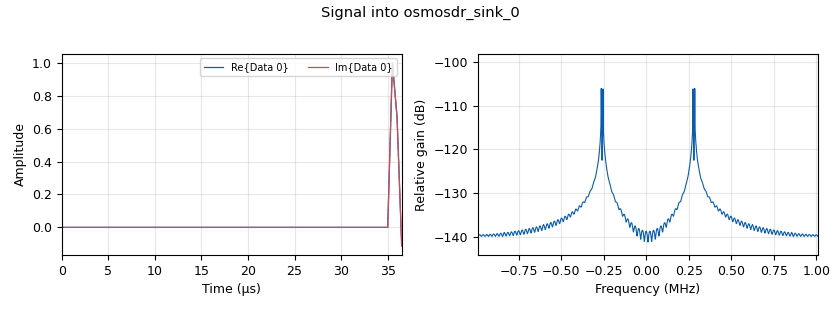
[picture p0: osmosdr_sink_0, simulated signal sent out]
<?xml version='1.0' encoding='utf-8'?>
<?grc format='1' created='3.7.11'?>
<flow_graph>
<block>
<key>options</key>
<param><key>id</key><value>OOK_hackrf</value></param>
<param><key>generate_options</key><value>qt_gui</value></param>
</block>
<block>
<key>variable</key>
<param><key>id</key><value>EBW</value></param>
<param><key>value</key><value>.35</value></param>
</block>
<block>
<key>variable_rrc_filter_taps</key>
<param><key>id</key><value>RRC_filter_taps</value></param>
<param><key>comment</key><value>Root raised cosine definition.</value></param>
<param><key>alpha</key><value>EBW</value></param>
<param><key>gain</key><value>nfilts</value></param>
<param><key>ntaps</key><value>5*sps_TX*nfilts</value></param>
<param><key>samp_rate</key><value>nfilts</value></param>
<param><key>sym_rate</key><value>1.0</value></param>
</block>
<block>
<key>variable</key>
<param><key>id</key><value>carrier_freq</value></param>
<param><key>value</key><value>270e3</value></param>
</block>
<block>
<key>variable</key>
<param><key>id</key><value>center_freq</value></param>
<param><key>comment</key><value>RF carrier frequency</value></param>
<param><key>value</key><value>10e3</value></param>
</block>
<block>
<key>variable_qtgui_range</key>
<param><key>id</key><value>freq_offset_value</value></param>
<param><key>value</key><value>0</value></param>
<param><key>orient</key><value>Qt.Horizontal</value></param>
<param><key>start</key><value>-10e3</value></param>
<param><key>step</key><value>250</value></param>
<param><key>stop</key><value>10e3</value></param>
</block>
<block>
<key>variable</key>
<param><key>id</key><value>fsk_deviation_hz</value></param>
<param><key>comment</key><value>Frequency deviation of 
GFSK modulation</value></param>
<param><key>value</key><value>0.5e4</value></param>
</block>
<block>
<key>variable</key>
<param><key>id</key><value>nfilts</value></param>
<param><key>value</key><value>32</value></param>
</block>
<block>
<key>variable</key>
<param><key>id</key><value>noise_amp</value></param>
<param><key>value</key><value>0.0</value></param>
</block>
<block>
<key>variable</key>
<param><key>id</key><value>samp_rate</value></param>
<param><key>comment</key><value>Sample rate - 
determines BW
of transmitter and receiver.
This should be larger
than BW of signal itself.</value></param>
<param><key>value</key><value>2e6</value></param>
</block>
<block>
<key>variable</key>
<param><key>id</key><value>sps_RX</value></param>
<param><key>comment</key><value>Samples per 
signal at
receiver</value></param>
<param><key>value</key><value>16</value></param>
</block>
<block>
<key>variable</key>
<param><key>id</key><value>sps_TX</value></param>
<param><key>comment</key><value>Samples 
per signal
at transmitter</value></param>
<param><key>value</key><value>int(samp_rate/fsk_deviation_hz*5)</value></param>
</block>
<block>
<key>analog_const_source_x</key>
<param><key>id</key><value>analog_const_source_x_0</value></param>
<param><key>const</key><value>0</value></param>
<param><key>type</key><value>float</value></param>
</block>
<block>
<key>analog_feedforward_agc_cc</key>
<param><key>id</key><value>analog_feedforward_agc_cc_0</value></param>
<param><key>comment</key><value>Optional AGC</value></param>
<param><key>num_samples</key><value>1024/2</value></param>
<param><key>reference</key><value>1.0</value></param>
</block>
<block>
<key>analog_sig_source_x</key>
<param><key>id</key><value>analog_sig_source_x_0</value></param>
<param><key>amp</key><value>1</value></param>
<param><key>freq</key><value>fsk_deviation_hz</value></param>
<param><key>offset</key><value>0</value></param>
<param><key>type</key><value>float</value></param>
<param><key>samp_rate</key><value>samp_rate</value></param>
<param><key>waveform</key><value>analog.GR_COS_WAVE</value></param>
</block>
<block>
<key>analog_sig_source_x</key>
<param><key>id</key><value>analog_sig_source_x_0_0</value></param>
<param><key>amp</key><value>1</value></param>
<param><key>freq</key><value>carrier_freq</value></param>
<param><key>offset</key><value>0</value></param>
<param><key>type</key><value>float</value></param>
<param><key>samp_rate</key><value>samp_rate</value></param>
<param><key>waveform</key><value>analog.GR_COS_WAVE</value></param>
</block>
<block>
<key>analog_sig_source_x</key>
<param><key>id</key><value>analog_sig_source_x_1</value></param>
<param><key>amp</key><value>1</value></param>
<param><key>comment</key><value>local oscillator</value></param>
<param><key>freq</key><value>-carrier_freq+freq_offset_value</value></param>
<param><key>offset</key><value>0</value></param>
<param><key>type</key><value>complex</value></param>
<param><key>samp_rate</key><value>samp_rate</value></param>
<param><key>waveform</key><value>analog.GR_COS_WAVE</value></param>
</block>
<block>
<key>blocks_char_to_float</key>
<param><key>id</key><value>blocks_char_to_float_0</value></param>
<param><key>scale</key><value>1</value></param>
</block>
<block>
<key>blocks_complex_to_mag_squared</key>
<param><key>id</key><value>blocks_complex_to_mag_squared_0</value></param>
</block>
<block>
<key>blocks_float_to_char</key>
<param><key>id</key><value>blocks_float_to_char_0</value></param>
<param><key>scale</key><value>1</value></param>
</block>
<block>
<key>blocks_float_to_complex</key>
<param><key>id</key><value>blocks_float_to_complex_0</value></param>
</block>
<block>
<key>blocks_message_debug</key>
<param><key>id</key><value>blocks_message_debug_0</value></param>
<param><key>comment</key><value>Display recovered
message</value></param>
</block>
<block>
<key>blocks_message_strobe</key>
<param><key>id</key><value>blocks_message_strobe_0_0</value></param>
<param><key>comment</key><value>Generate hello world message</value></param>
<param><key>msg</key><value>pmt.cons(pmt.make_dict(), pmt.pmt_to_python.numpy_to_uvector(numpy.array([ord(c) for c in "Hello world!"], numpy.uint8)))</value></param>
<param><key>period</key><value>1</value></param>
</block>
<block>
<key>blocks_moving_average_xx</key>
<param><key>id</key><value>blocks_moving_average_xx_0</value></param>
<param><key>length</key><value>sps_RX</value></param>
<param><key>max_iter</key><value>4000</value></param>
<param><key>scale</key><value>4.0/sps_RX</value></param>
<param><key>type</key><value>float</value></param>
</block>
<block>
<key>blocks_multiply_xx</key>
<param><key>id</key><value>blocks_multiply_xx_0</value></param>
<param><key>type</key><value>float</value></param>
</block>
<block>
<key>blocks_multiply_xx</key>
<param><key>id</key><value>blocks_multiply_xx_0_0</value></param>
<param><key>type</key><value>float</value></param>
</block>
<block>
<key>blocks_multiply_xx</key>
<param><key>id</key><value>blocks_multiply_xx_1</value></param>
<param><key>comment</key><value>Perform frequency translation
(down convert)</value></param>
<param><key>type</key><value>complex</value></param>
</block>
<block>
<key>blocks_pdu_to_tagged_stream</key>
<param><key>id</key><value>blocks_pdu_to_tagged_stream_1</value></param>
<param><key>type</key><value>byte</value></param>
<param><key>tag</key><value>len_key</value></param>
</block>
<block>
<key>blocks_repack_bits_bb</key>
<param><key>id</key><value>blocks_repack_bits_bb_0_0</value></param>
<param><key>k</key><value>8</value></param>
<param><key>l</key><value>1</value></param>
<param><key>comment</key><value>Unpack bytes</value></param>
<param><key>endianness</key><value>gr.GR_MSB_FIRST</value></param>
<param><key>len_tag_key</key><value>len_key</value></param>
</block>
<block>
<key>blocks_repack_bits_bb</key>
<param><key>id</key><value>blocks_repack_bits_bb_0_0_0</value></param>
<param><key>k</key><value>1</value></param>
<param><key>l</key><value>8</value></param>
<param><key>comment</key><value>Tagged Stream to PDU block up ahead needs
packed bytes</value></param>
<param><key>endianness</key><value>gr.GR_MSB_FIRST</value></param>
<param><key>len_tag_key</key><value>len_key2</value></param>
</block>
<block>
<key>blocks_repeat</key>
<param><key>id</key><value>blocks_repeat_0</value></param>
<param><key>interp</key><value>sps_TX</value></param>
<param><key>type</key><value>float</value></param>
</block>
<block>
<key>blocks_tagged_stream_mux</key>
<param><key>id</key><value>blocks_tagged_stream_mux_0</value></param>
<param><key>comment</key><value>Append header to payload</value></param>
<param><key>type</key><value>byte</value></param>
<param><key>lengthtagname</key><value>len_key</value></param>
<param><key>ninputs</key><value>2</value></param>
</block>
<block>
<key>blocks_tagged_stream_to_pdu</key>
<param><key>id</key><value>blocks_tagged_stream_to_pdu_0</value></param>
<param><key>type</key><value>byte</value></param>
<param><key>tag</key><value>len_key2</value></param>
</block>
<block>
<key>blocks_threshold_ff</key>
<param><key>id</key><value>blocks_threshold_ff_0</value></param>
<param><key>high</key><value>0.5</value></param>
<param><key>init</key><value>0</value></param>
<param><key>low</key><value>0.5</value></param>
</block>
<block>
<key>blocks_throttle</key>
<param><key>id</key><value>blocks_throttle_0</value></param>
<param><key>_enabled</key><value>2</value></param>
<param><key>samples_per_second</key><value>samp_rate</value></param>
<param><key>type</key><value>float</value></param>
</block>
<block>
<key>channels_channel_model</key>
<param><key>id</key><value>channels_channel_model_0</value></param>
<param><key>epsilon</key><value>1.0</value></param>
<param><key>freq_offset</key><value>0.0</value></param>
<param><key>noise_voltage</key><value>noise_amp</value></param>
<param><key>seed</key><value>0</value></param>
<param><key>taps</key><value>1.0 + 1.0j</value></param>
</block>
<block>
<key>digital_correlate_access_code_xx_ts</key>
<param><key>id</key><value>digital_correlate_access_code_xx_ts_1_0</value></param>
<param><key>access_code</key><value>digital.packet_utils.default_access_code</value></param>
<param><key>comment</key><value>Correlates with access code to extract the payload.</value></param>
<param><key>type</key><value>byte</value></param>
<param><key>tagname</key><value>len_key2</value></param>
<param><key>threshold</key><value>10</value></param>
</block>
<block>
<key>digital_protocol_formatter_bb</key>
<param><key>id</key><value>digital_protocol_formatter_bb_0</value></param>
<param><key>comment</key><value>Generate header</value></param>
<param><key>format</key><value>hdr_format</value></param>
<param><key>len_tag_key</key><value>len_key</value></param>
</block>
<block>
<key>parameter</key>
<param><key>id</key><value>hdr_format</value></param>
<param><key>comment</key><value>Header format definition</value></param>
<param><key>label</key><value>Header Formatter</value></param>
<param><key>value</key><value>digital.header_format_default(digital.packet_utils.default_access_code, 0)</value></param>
</block>
<block>
<key>import</key>
<param><key>id</key><value>import_0</value></param>
<param><key>comment</key><value>Custom Embedded
Python Block uses 
this library.</value></param>
<param><key>import</key><value>import numpy</value></param>
</block>
<block>
<key>parameter</key>
<param><key>id</key><value>my_const</value></param>
<param><key>comment</key><value>Constellation definition</value></param>
<param><key>label</key><value>Constellation</value></param>
<param><key>value</key><value>[0,1]</value></param>
</block>
<block>
<key>osmosdr_sink</key>
<param><key>id</key><value>osmosdr_sink_0</value></param>
<param><key>bb_gain0</key><value>16</value></param>
<param><key>freq0</key><value>center_freq</value></param>
<param><key>if_gain0</key><value>16</value></param>
<param><key>gain0</key><value>0</value></param>
<param><key>args</key><value>hackrf=232a2c5f</value></param>
<param><key>type</key><value>fc32</value></param>
<param><key>sample_rate</key><value>samp_rate</value></param>
<param><key>sync</key><value></value></param>
</block>
<block>
<key>osmosdr_source</key>
<param><key>id</key><value>osmosdr_source_0</value></param>
<param><key>bb_gain0</key><value>16</value></param>
<param><key>freq0</key><value>center_freq</value></param>
<param><key>gain_mode0</key><value>False</value></param>
<param><key>if_gain0</key><value>16</value></param>
<param><key>gain0</key><value>0</value></param>
<param><key>args</key><value>hackrf=2226255f</value></param>
<param><key>type</key><value>fc32</value></param>
<param><key>sample_rate</key><value>samp_rate</value></param>
<param><key>sync</key><value></value></param>
</block>
<block>
<key>qtgui_freq_sink_x</key>
<param><key>id</key><value>qtgui_freq_sink_x_0</value></param>
<param><key>bw</key><value>samp_rate</value></param>
<param><key>fc</key><value>0</value></param>
<param><key>_enabled</key><value>0</value></param>
<param><key>fftsize</key><value>1024</value></param>
<param><key>showports</key><value>True</value></param>
<param><key>type</key><value>float</value></param>
<param><key>wintype</key><value>firdes.WIN_BLACKMAN_hARRIS</value></param>
</block>
<block>
<key>qtgui_freq_sink_x</key>
<param><key>id</key><value>qtgui_freq_sink_x_2</value></param>
<param><key>bw</key><value>samp_rate</value></param>
<param><key>fc</key><value>0</value></param>
<param><key>_enabled</key><value>0</value></param>
<param><key>fftsize</key><value>1024*8</value></param>
<param><key>showports</key><value>True</value></param>
<param><key>type</key><value>complex</value></param>
<param><key>wintype</key><value>firdes.WIN_BLACKMAN_hARRIS</value></param>
</block>
<block>
<key>qtgui_time_sink_x</key>
<param><key>id</key><value>qtgui_time_sink_x_0</value></param>
<param><key>_enabled</key><value>0</value></param>
<param><key>color1</key><value>"blue"</value></param>
<param><key>label1</key><value></value></param>
<param><key>color2</key><value>"red"</value></param>
<param><key>label2</key><value></value></param>
<param><key>nconnections</key><value>2</value></param>
<param><key>size</key><value>1024*16</value></param>
<param><key>srate</key><value>samp_rate</value></param>
<param><key>type</key><value>float</value></param>
</block>
<block>
<key>qtgui_time_sink_x</key>
<param><key>id</key><value>qtgui_time_sink_x_2</value></param>
<param><key>_enabled</key><value>0</value></param>
<param><key>color1</key><value>"blue"</value></param>
<param><key>label1</key><value></value></param>
<param><key>color2</key><value>"red"</value></param>
<param><key>label2</key><value></value></param>
<param><key>size</key><value>1024*8</value></param>
<param><key>srate</key><value>samp_rate</value></param>
<param><key>type</key><value>complex</value></param>
</block>
<block>
<key>rational_resampler_xxx</key>
<param><key>id</key><value>rational_resampler_xxx_0</value></param>
<param><key>comment</key><value>Downsample and LPF</value></param>
<param><key>decim</key><value>int(sps_TX/sps_RX)</value></param>
<param><key>interp</key><value>1</value></param>
<param><key>taps</key><value></value></param>
<param><key>type</key><value>ccc</value></param>
</block>
<block>
<key>rational_resampler_xxx</key>
<param><key>id</key><value>rational_resampler_xxx_1</value></param>
<param><key>decim</key><value>sps_RX</value></param>
<param><key>interp</key><value>1</value></param>
<param><key>taps</key><value></value></param>
<param><key>type</key><value>fff</value></param>
</block>
<connection><source_block_id>analog_const_source_x_0</source_block_id><sink_block_id>blocks_float_to_complex_0</sink_block_id><source_key>0</source_key><sink_key>1</sink_key></connection>
<connection><source_block_id>analog_feedforward_agc_cc_0</source_block_id><sink_block_id>blocks_complex_to_mag_squared_0</sink_block_id><source_key>0</source_key><sink_key>0</sink_key></connection>
<connection><source_block_id>analog_feedforward_agc_cc_0</source_block_id><sink_block_id>qtgui_time_sink_x_2</sink_block_id><source_key>0</source_key><sink_key>0</sink_key></connection>
<connection><source_block_id>analog_sig_source_x_0</source_block_id><sink_block_id>blocks_multiply_xx_0</sink_block_id><source_key>0</source_key><sink_key>1</sink_key></connection>
<connection><source_block_id>analog_sig_source_x_0_0</source_block_id><sink_block_id>blocks_multiply_xx_0_0</sink_block_id><source_key>0</source_key><sink_key>1</sink_key></connection>
<connection><source_block_id>analog_sig_source_x_1</source_block_id><sink_block_id>blocks_multiply_xx_1</sink_block_id><source_key>0</source_key><sink_key>1</sink_key></connection>
<connection><source_block_id>blocks_char_to_float_0</source_block_id><sink_block_id>blocks_repeat_0</sink_block_id><source_key>0</source_key><sink_key>0</sink_key></connection>
<connection><source_block_id>blocks_complex_to_mag_squared_0</source_block_id><sink_block_id>blocks_throttle_0</sink_block_id><source_key>0</source_key><sink_key>0</sink_key></connection>
<connection><source_block_id>blocks_float_to_char_0</source_block_id><sink_block_id>digital_correlate_access_code_xx_ts_1_0</sink_block_id><source_key>0</source_key><sink_key>0</sink_key></connection>
<connection><source_block_id>blocks_float_to_complex_0</source_block_id><sink_block_id>channels_channel_model_0</sink_block_id><source_key>0</source_key><sink_key>0</sink_key></connection>
<connection><source_block_id>blocks_message_strobe_0_0</source_block_id><sink_block_id>blocks_pdu_to_tagged_stream_1</sink_block_id><source_key>strobe</source_key><sink_key>pdus</sink_key></connection>
<connection><source_block_id>blocks_moving_average_xx_0</source_block_id><sink_block_id>rational_resampler_xxx_1</sink_block_id><source_key>0</source_key><sink_key>0</sink_key></connection>
<connection><source_block_id>blocks_multiply_xx_0</source_block_id><sink_block_id>blocks_multiply_xx_0_0</sink_block_id><source_key>0</source_key><sink_key>0</sink_key></connection>
<connection><source_block_id>blocks_multiply_xx_0</source_block_id><sink_block_id>qtgui_freq_sink_x_0</sink_block_id><source_key>0</source_key><sink_key>0</sink_key></connection>
<connection><source_block_id>blocks_multiply_xx_0</source_block_id><sink_block_id>qtgui_time_sink_x_0</sink_block_id><source_key>0</source_key><sink_key>0</sink_key></connection>
<connection><source_block_id>blocks_multiply_xx_0_0</source_block_id><sink_block_id>blocks_float_to_complex_0</sink_block_id><source_key>0</source_key><sink_key>0</sink_key></connection>
<connection><source_block_id>blocks_multiply_xx_1</source_block_id><sink_block_id>rational_resampler_xxx_0</sink_block_id><source_key>0</source_key><sink_key>0</sink_key></connection>
<connection><source_block_id>blocks_pdu_to_tagged_stream_1</source_block_id><sink_block_id>blocks_tagged_stream_mux_0</sink_block_id><source_key>0</source_key><sink_key>1</sink_key></connection>
<connection><source_block_id>blocks_pdu_to_tagged_stream_1</source_block_id><sink_block_id>digital_protocol_formatter_bb_0</sink_block_id><source_key>0</source_key><sink_key>0</sink_key></connection>
<connection><source_block_id>blocks_repack_bits_bb_0_0</source_block_id><sink_block_id>blocks_char_to_float_0</sink_block_id><source_key>0</source_key><sink_key>0</sink_key></connection>
<connection><source_block_id>blocks_repack_bits_bb_0_0_0</source_block_id><sink_block_id>blocks_tagged_stream_to_pdu_0</sink_block_id><source_key>0</source_key><sink_key>0</sink_key></connection>
<connection><source_block_id>blocks_repeat_0</source_block_id><sink_block_id>blocks_multiply_xx_0</sink_block_id><source_key>0</source_key><sink_key>0</sink_key></connection>
<connection><source_block_id>blocks_repeat_0</source_block_id><sink_block_id>qtgui_time_sink_x_0</sink_block_id><source_key>0</source_key><sink_key>1</sink_key></connection>
<connection><source_block_id>blocks_tagged_stream_mux_0</source_block_id><sink_block_id>blocks_repack_bits_bb_0_0</sink_block_id><source_key>0</source_key><sink_key>0</sink_key></connection>
<connection><source_block_id>blocks_tagged_stream_to_pdu_0</source_block_id><sink_block_id>blocks_message_debug_0</sink_block_id><source_key>pdus</source_key><sink_key>print</sink_key></connection>
<connection><source_block_id>blocks_threshold_ff_0</source_block_id><sink_block_id>blocks_float_to_char_0</sink_block_id><source_key>0</source_key><sink_key>0</sink_key></connection>
<connection><source_block_id>blocks_throttle_0</source_block_id><sink_block_id>blocks_moving_average_xx_0</sink_block_id><source_key>0</source_key><sink_key>0</sink_key></connection>
<connection><source_block_id>channels_channel_model_0</source_block_id><sink_block_id>osmosdr_sink_0</sink_block_id><source_key>0</source_key><sink_key>0</sink_key></connection>
<connection><source_block_id>digital_correlate_access_code_xx_ts_1_0</source_block_id><sink_block_id>blocks_repack_bits_bb_0_0_0</sink_block_id><source_key>0</source_key><sink_key>0</sink_key></connection>
<connection><source_block_id>digital_protocol_formatter_bb_0</source_block_id><sink_block_id>blocks_tagged_stream_mux_0</sink_block_id><source_key>0</source_key><sink_key>0</sink_key></connection>
<connection><source_block_id>osmosdr_source_0</source_block_id><sink_block_id>blocks_multiply_xx_1</sink_block_id><source_key>0</source_key><sink_key>0</sink_key></connection>
<connection><source_block_id>rational_resampler_xxx_0</source_block_id><sink_block_id>analog_feedforward_agc_cc_0</sink_block_id><source_key>0</source_key><sink_key>0</sink_key></connection>
<connection><source_block_id>rational_resampler_xxx_0</source_block_id><sink_block_id>qtgui_freq_sink_x_2</sink_block_id><source_key>0</source_key><sink_key>0</sink_key></connection>
<connection><source_block_id>rational_resampler_xxx_1</source_block_id><sink_block_id>blocks_threshold_ff_0</sink_block_id><source_key>0</source_key><sink_key>0</sink_key></connection>
</flow_graph>
